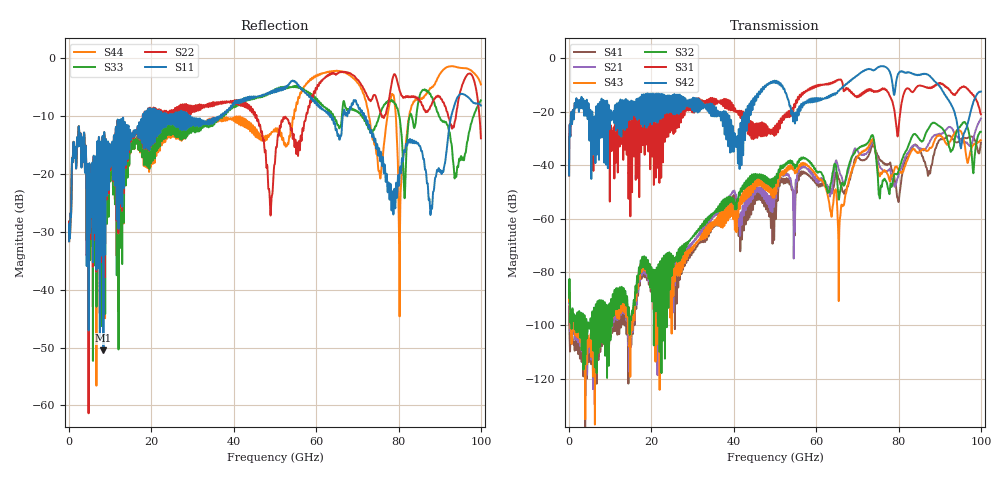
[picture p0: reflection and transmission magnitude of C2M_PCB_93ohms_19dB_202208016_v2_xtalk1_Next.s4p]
! Info: Touchstone file created by Circ.  Input file=Intel_C2M_200G_6p5in_202208016_staggered.circ
# Hz S RI R 50
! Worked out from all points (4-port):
!   10000 points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, 10 MHz to 100 GHz, reference 50 ohm
!   strongest paths, dB at 10 MHz, 25.01 GHz, 50.01 GHz, 75.01 GHz, 100 GHz:
!     S42: -43.8, -16.6, -8.5, -3.4, -12.4
!     S31: -43.9, -21.0, -25.7, -12.4, -20.9
!     S32: -89.7, -78.8, -44.3, -45.1, -27.5
!     S43: -90.4, -80.8, -47.5, -41.5, -30.7
!     S21: -90.8, -77.4, -48.7, -38.3, -22.5
!     S41: -92.8, -76.8, -53.2, -36.6, -31.6
!   lowest |S11| = -50.5 dB at 8.34 GHz (marker M1), VSWR 1.01, Z = 49.9 + j0.27 ohm
!   |S11| at or under -10 dB: start of sweep to 17.93 GHz; 29.43 GHz to 36.85 GHz (7.421 GHz wide, 22.4 % of centre); 71.65 GHz to 92.82 GHz (21.17 GHz wide, 25.7 % of centre)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
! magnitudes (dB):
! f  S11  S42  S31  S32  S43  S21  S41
! 10 MHz  -31.6  -43.8  -43.9  -89.7  -90.4  -90.8  -92.8
! 8.34 GHz  -50.5  -15.6  -18.2  -100.5  -100.5  -101.3  -103.1
! 40.97 GHz  -7.8  -37.0  -19.6  -53.2  -57.3  -56.0  -55.6
! 73.49 GHz  -12.9  -4.3  -12.2  -28.9  -30.6  -31.8  -33.2
! 76.14 GHz  -17.2  -2.9  -11.2  -45.8  -42.3  -41.9  -38.8
! 95.18 GHz  -6.2  -33.6  -11.0  -24.9  -27.4  -30.9  -30.2
! 100 GHz  -8.2  -12.4  -20.9  -27.5  -30.7  -22.5  -31.6
